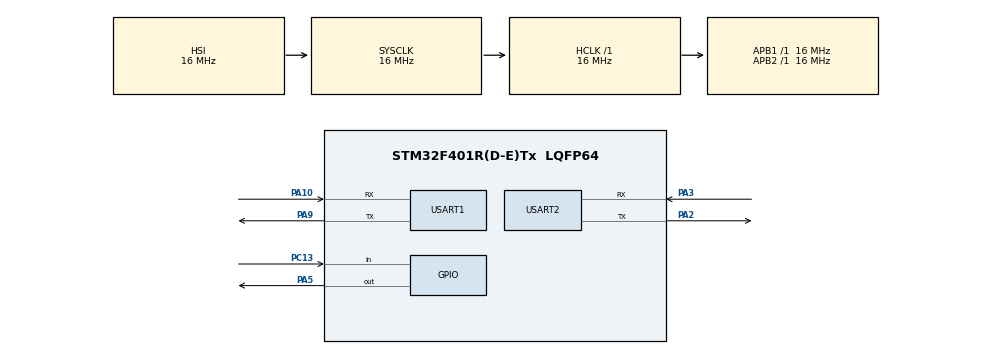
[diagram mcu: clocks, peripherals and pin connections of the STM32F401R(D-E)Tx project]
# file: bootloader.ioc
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Mcu.Family=STM32F4
Mcu.Name=STM32F401R(D-E)Tx
Mcu.Package=LQFP64
NVIC.PriorityGroup=NVIC_PRIORITYGROUP_4
PA10.Mode=Asynchronous
PA10.Signal=USART1_RX
PA2.Mode=Asynchronous
PA2.Signal=USART2_TX
PA3.Mode=Asynchronous
PA3.Signal=USART2_RX
PA5.Signal=GPIO_Output
PA9.Mode=Asynchronous
PA9.Signal=USART1_TX
PC13-ANTI_TAMP.Signal=GPIO_Input
ProjectManager.HeapSize=0x200
ProjectManager.StackSize=0x400
ProjectManager.TargetToolchain=STM32CubeIDE
RCC.AHBFreq_Value=16000000
RCC.APB1Freq_Value=16000000
RCC.APB2Freq_Value=16000000
RCC.CortexFreq_Value=16000000
RCC.HSE_VALUE=25000000
RCC.HSI_VALUE=16000000
RCC.LSE_VALUE=32768
RCC.SYSCLKFreq_VALUE=16000000
RCC.VCOOutputFreq_Value=192000000
USART1.VirtualMode=VM_ASYNC
USART2.VirtualMode=VM_ASYNC
VP_CRC_VS_CRC.Mode=CRC_Activate
board=custom

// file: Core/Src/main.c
/* USER CODE BEGIN Header */
/**
  ******************************************************************************
  * @file           : main.c
  * @brief          : Main program body
  ******************************************************************************
  * @attention
  *
  * Copyright (c) 2024 STMicroelectronics.
  * All rights reserved.
  *
  * This software is licensed under terms that can be found in the LICENSE file
  * in the root directory of this software component.
  * If no LICENSE file comes with this software, it is provided AS-IS.
  *
  ******************************************************************************
  */
/* USER CODE END Header */
#include "main.h"

/* USER CODE BEGIN Includes */
#include <stdio.h>
#include "etx_ota_update.h"
/* USER CODE END Includes */

/* USER CODE BEGIN PM */
#define MAJOR 0
#define MINOR 1
/* USER CODE END PM */

CRC_HandleTypeDef hcrc;

UART_HandleTypeDef huart1;
UART_HandleTypeDef huart2;

/* USER CODE BEGIN PV */
const uint8_t BL_Version[2] = {MAJOR, MINOR};
/* USER CODE END PV */

void SystemClock_Config(void);
static void MX_GPIO_Init(void);
static void MX_USART2_UART_Init(void);
static void MX_USART1_UART_Init(void);
static void MX_CRC_Init(void);
/* USER CODE BEGIN PFP */
static void goto_application(void);
/* USER CODE END PFP */

/* USER CODE BEGIN 0 */
uint8_t dat[15];
/* USER CODE END 0 */

int main(void)
{

  /* MCU Configuration--------------------------------------------------------*/

  /* Reset of all peripherals, Initializes the Flash interface and the Systick. */
  HAL_Init();

  /* Configure the system clock */
  SystemClock_Config();

  /* Initialize all configured peripherals */
  MX_GPIO_Init();
  MX_USART2_UART_Init();
  MX_USART1_UART_Init();
  MX_CRC_Init();
  /* USER CODE BEGIN 2 */
  printf("Starting Bootloader (%d.%d)\n",BL_Version[0],BL_Version[1]);
  HAL_GPIO_WritePin(GPIOA, GPIO_PIN_5, GPIO_PIN_SET);

  printf("Press user button to start OTA\n");

  uint32_t start_tick = HAL_GetTick();

  while(1){
	  if(HAL_GPIO_ReadPin(GPIOC, GPIO_PIN_13)==0 || HAL_GetTick()-start_tick>3000){
		  HAL_Delay(10);
		  break;
	  }

  }

  if(HAL_GPIO_ReadPin(GPIOC, GPIO_PIN_13)==0){
	  printf("Starting the firmware Download\n");

	  if( etx_ota_download_and_flash() != ETX_OTA_EX_OK )
	    {
	      /* Error. Don't process. */
	      printf("OTA Update : ERROR!!! HALT!!!\r\n");
	      while( 1 );
	    }
	    else
	    {
	      /* Reset to load the new application */
	      printf("Firmware update is done!!! Rebooting...\r\n");
	      HAL_NVIC_SystemReset();
	    }
	  /*while(1){
		  HAL_UART_Receive(&huart1, dat, 10, HAL_MAX_DELAY);
		  if(dat[0]!=0)
			  printf("%s\n",dat);
	  }*/
  }else{

	  load_new_app();

	  goto_application();
  }
  /* USER CODE END 2 */

  /* Infinite loop */
  while (1)
  {

    /* USER CODE BEGIN 3 */
	  //HAL_UART_Receive(&huart1, dat, 1, HAL_MAX_DELAY);
	  //printf("%c\n",dat);
  }
  /* USER CODE END 3 */
}

void SystemClock_Config(void)
{
  RCC_OscInitTypeDef RCC_OscInitStruct = {0};
  RCC_ClkInitTypeDef RCC_ClkInitStruct = {0};

  /** Configure the main internal regulator output voltage
  */
  __HAL_RCC_PWR_CLK_ENABLE();
  __HAL_PWR_VOLTAGESCALING_CONFIG(PWR_REGULATOR_VOLTAGE_SCALE2);

  /** Initializes the RCC Oscillators according to the specified parameters
  * in the RCC_OscInitTypeDef structure.
  */
  RCC_OscInitStruct.OscillatorType = RCC_OSCILLATORTYPE_HSI;
  RCC_OscInitStruct.HSIState = RCC_HSI_ON;
  RCC_OscInitStruct.HSICalibrationValue = RCC_HSICALIBRATION_DEFAULT;
  RCC_OscInitStruct.PLL.PLLState = RCC_PLL_NONE;
  if (HAL_RCC_OscConfig(&RCC_OscInitStruct) != HAL_OK)
  {
    Error_Handler();
  }

  /** Initializes the CPU, AHB and APB buses clocks
  */
  RCC_ClkInitStruct.ClockType = RCC_CLOCKTYPE_HCLK|RCC_CLOCKTYPE_SYSCLK
                              |RCC_CLOCKTYPE_PCLK1|RCC_CLOCKTYPE_PCLK2;
  RCC_ClkInitStruct.SYSCLKSource = RCC_SYSCLKSOURCE_HSI;
  RCC_ClkInitStruct.AHBCLKDivider = RCC_SYSCLK_DIV1;
  RCC_ClkInitStruct.APB1CLKDivider = RCC_HCLK_DIV1;
  RCC_ClkInitStruct.APB2CLKDivider = RCC_HCLK_DIV1;

  if (HAL_RCC_ClockConfig(&RCC_ClkInitStruct, FLASH_LATENCY_0) != HAL_OK)
  {
    Error_Handler();
  }
}

static void MX_CRC_Init(void)
{

  hcrc.Instance = CRC;
  if (HAL_CRC_Init(&hcrc) != HAL_OK)
  {
    Error_Handler();
  }

}

static void MX_USART1_UART_Init(void)
{

  huart1.Instance = USART1;
  huart1.Init.BaudRate = 115200;
  huart1.Init.WordLength = UART_WORDLENGTH_8B;
  huart1.Init.StopBits = UART_STOPBITS_1;
  huart1.Init.Parity = UART_PARITY_NONE;
  huart1.Init.Mode = UART_MODE_TX_RX;
  huart1.Init.HwFlowCtl = UART_HWCONTROL_NONE;
  huart1.Init.OverSampling = UART_OVERSAMPLING_16;
  if (HAL_UART_Init(&huart1) != HAL_OK)
  {
    Error_Handler();
  }

}

static void MX_USART2_UART_Init(void)
{

  huart2.Instance = USART2;
  huart2.Init.BaudRate = 115200;
  huart2.Init.WordLength = UART_WORDLENGTH_8B;
  huart2.Init.StopBits = UART_STOPBITS_1;
  huart2.Init.Parity = UART_PARITY_NONE;
  huart2.Init.Mode = UART_MODE_TX_RX;
  huart2.Init.HwFlowCtl = UART_HWCONTROL_NONE;
  huart2.Init.OverSampling = UART_OVERSAMPLING_16;
  if (HAL_UART_Init(&huart2) != HAL_OK)
  {
    Error_Handler();
  }

}

static void MX_GPIO_Init(void)
{
  GPIO_InitTypeDef GPIO_InitStruct = {0};

  /* GPIO Ports Clock Enable */
  __HAL_RCC_GPIOC_CLK_ENABLE();
  __HAL_RCC_GPIOA_CLK_ENABLE();

  /*Configure GPIO pin Output Level */
  HAL_GPIO_WritePin(GPIOA, GPIO_PIN_5, GPIO_PIN_RESET);

  /*Configure GPIO pin : PC13 */
  GPIO_InitStruct.Pin = GPIO_PIN_13;
  GPIO_InitStruct.Mode = GPIO_MODE_INPUT;
  GPIO_InitStruct.Pull = GPIO_NOPULL;
  HAL_GPIO_Init(GPIOC, &GPIO_InitStruct);

  /*Configure GPIO pin : PA5 */
  GPIO_InitStruct.Pin = GPIO_PIN_5;
  GPIO_InitStruct.Mode = GPIO_MODE_OUTPUT_PP;
  GPIO_InitStruct.Pull = GPIO_NOPULL;
  GPIO_InitStruct.Speed = GPIO_SPEED_FREQ_LOW;
  HAL_GPIO_Init(GPIOA, &GPIO_InitStruct);

}

/* USER CODE BEGIN 4 */

static void goto_application(void){

	printf("Jumping to Application...\n");

	void (*app_reset_handler)(void) = (void *)(*(volatile uint32_t *) (ETX_APP_FLASH_ADDR+4u));

	//__set_MSP((*(volatile uint32_t *) (0x08010000)));

	HAL_GPIO_WritePin(GPIOA, GPIO_PIN_5, GPIO_PIN_RESET);

	/* Reset the Clock */
	  HAL_RCC_DeInit();
	  HAL_DeInit();
	  __set_MSP(*(volatile uint32_t*) ETX_APP_FLASH_ADDR);
	  SysTick->CTRL = 0;
	  SysTick->LOAD = 0;
	  SysTick->VAL = 0;

	app_reset_handler();
}

#ifdef __GNUC__

int __io_putchar(int ch)
#else
int fputc(int ch, FILE *f)
#endif
{
	HAL_UART_Transmit(&huart2, (uint8_t *)&ch, 1, HAL_MAX_DELAY);

	return ch;
}
/* USER CODE END 4 */

void Error_Handler(void)
{
  __disable_irq();
  while (1)
  {
  }
}
